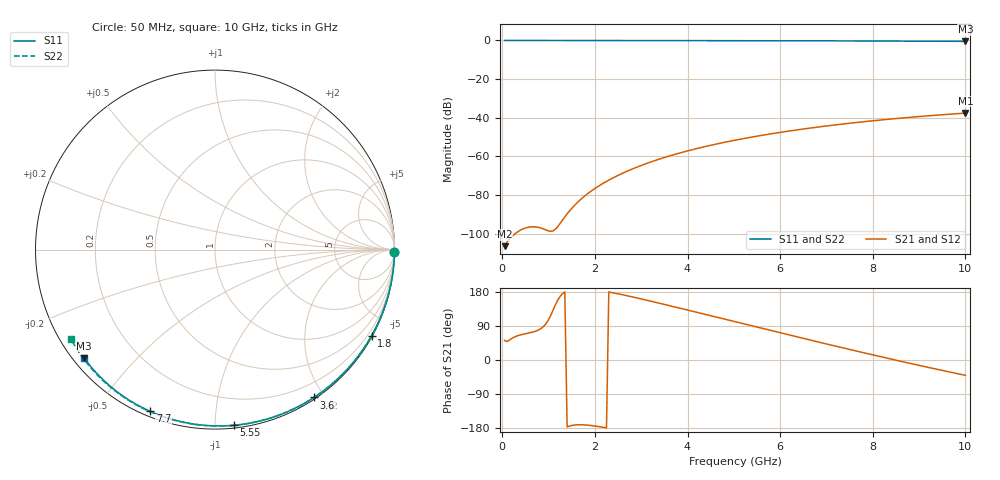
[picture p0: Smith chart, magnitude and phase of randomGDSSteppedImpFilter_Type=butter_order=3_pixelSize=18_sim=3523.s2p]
! freq	dB(S11)	phase(S11)	dB(S12)	phase(S12)
!  dB(S21)	phase(S21)	dB(S22)	phase(S22)
!S-par simulation data
#  GHz  S  DB  R 50
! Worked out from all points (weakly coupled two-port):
!   200 points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, 50 MHz to 10 GHz, reference 50 ohm
!   highest |S21| = -37.60 dB at 10 GHz (marker M1); lowest = -106.5 dB at 50 MHz (marker M2)
!   lowest |S11| = -0.5 dB at 10 GHz (marker M3), VSWR 36.76, Z = 1.54 - j18 ohm
!   |S11| at or under -10 dB: nowhere
!   |S22| runs from -0.5 to 0.0 dB; largest |S21 - S12| = 0
!   S11 on the Smith chart (normalised r, x): 50 MHz: open; 1.8 GHz: 0.03, -3.90; 3.6 GHz: 0.02, -1.87; 5.55 GHz: 0.02, -1.11; 7.7 GHz: 0.02, -0.68; 10 GHz: 0.03, -0.36
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0.05  -0.00 -0.8  -106.50 51.5  -106.50 51.5  -0.00 -0.9
0.45  -0.01 -7.3  -97.53 68.0  -97.53 68.0  -0.01 -7.7
0.9  -0.02 -14.5  -97.69 89.7  -97.69 89.7  -0.02 -15.4
1.3  -0.03 -20.9  -93.00 174.8  -93.00 174.8  -0.03 -22.1
1.75  -0.04 -28.0  -81.12 -171.1  -81.12 -171.1  -0.04 -29.6
1.8  -0.04 -28.8  -80.13 -171.5  -80.13 -171.5  -0.04 -30.5
2  -0.04 -31.9  -76.64 -174.2  -76.64 -174.2  -0.04 -33.8
2.15  -0.04 -34.2  -74.36 -177.1  -74.36 -177.1  -0.05 -36.2
2.5  -0.05 -39.6  -69.85 174.7  -69.85 174.7  -0.05 -41.9
2.9  -0.06 -45.7  -65.64 164.0  -65.64 164.0  -0.06 -48.4
3.4  -0.07 -53.2  -61.35 149.6  -61.35 149.6  -0.07 -56.3
3.6  -0.08 -56.2  -59.86 143.7  -59.86 143.7  -0.08 -59.4
3.9  -0.08 -60.6  -57.81 134.8  -57.81 134.8  -0.09 -64.0
4.3  -0.09 -66.3  -55.38 122.8  -55.38 122.8  -0.10 -70.1
5.05  -0.12 -76.9  -51.52 100.1  -51.52 100.1  -0.12 -81.2
5.55  -0.14 -83.8  -49.34 85.1  -49.34 85.1  -0.14 -88.4
6.1  -0.16 -91.2  -47.22 68.7  -47.22 68.7  -0.17 -96.2
6.7  -0.19 -99.0  -45.19 51.0  -45.19 51.0  -0.20 -104.5
7.7  -0.26 -111.8  -42.33 22.1  -42.33 22.1  -0.27 -117.9
8.35  -0.31 -120.0  -40.76 3.7  -40.76 3.7  -0.32 -126.5
9.2  -0.39 -130.5  -39.01 -19.6  -39.01 -19.6  -0.41 -137.7
10  -0.47 -140.3  -37.60 -40.5  -37.60 -40.5  -0.50 -148.2
